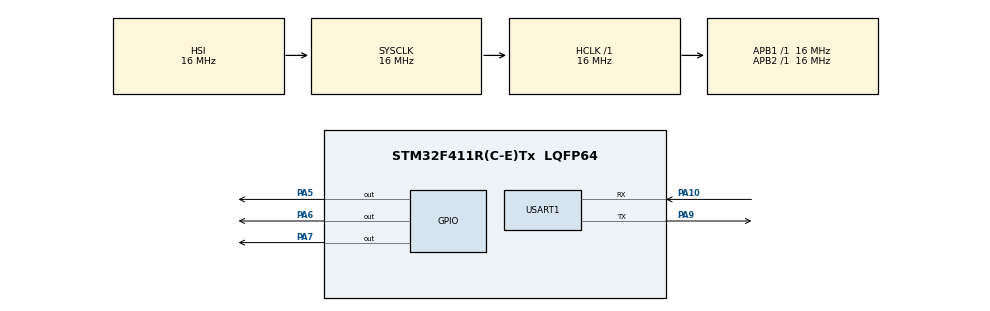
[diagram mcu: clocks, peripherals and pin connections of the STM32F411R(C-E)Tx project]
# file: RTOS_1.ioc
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FREERTOS.INCLUDE_vTaskDelayUntil=1
FREERTOS.Tasks01=defaultTask,0,128,StartDefaultTask,Default,NULL,Dynamic,NULL,NULL;Task2,0,128,Task2_init,Default,NULL,Dynamic,NULL,NULL
FREERTOS.configUSE_NEWLIB_REENTRANT=1
Mcu.Family=STM32F4
Mcu.Name=STM32F411R(C-E)Tx
Mcu.Package=LQFP64
NVIC.PriorityGroup=NVIC_PRIORITYGROUP_4
NVIC.TIM1_UP_TIM10_IRQn=true\:15\:0\:false\:false\:true\:false\:false\:true\:true
NVIC.TimeBase=TIM1_UP_TIM10_IRQn
NVIC.TimeBaseIP=TIM1
PA10.Mode=Asynchronous
PA10.Signal=USART1_RX
PA13.Mode=Serial_Wire
PA13.Signal=SYS_JTMS-SWDIO
PA14.Mode=Serial_Wire
PA14.Signal=SYS_JTCK-SWCLK
PA5.GPIO_ModeDefaultOutputPP=GPIO_MODE_OUTPUT_PP
PA5.GPIO_PuPd=GPIO_NOPULL
PA5.Signal=GPIO_Output
PA6.Signal=GPIO_Output
PA7.Signal=GPIO_Output
PA9.GPIO_ModeDefaultPP=GPIO_MODE_AF_PP
PA9.Mode=Asynchronous
PA9.Signal=USART1_TX
ProjectManager.HeapSize=0x200
ProjectManager.StackSize=0x400
ProjectManager.TargetToolchain=STM32CubeIDE
RCC.AHBFreq_Value=16000000
RCC.APB1Freq_Value=16000000
RCC.APB2Freq_Value=16000000
RCC.CortexFreq_Value=16000000
RCC.HSE_VALUE=25000000
RCC.HSI_VALUE=16000000
RCC.LSE_VALUE=32768
RCC.SYSCLKFreq_VALUE=16000000
RCC.VCOOutputFreq_Value=192000000
USART1.VirtualMode=VM_ASYNC
VP_FREERTOS_VS_CMSIS_V1.Mode=CMSIS_V1
VP_SYS_VS_tim1.Mode=TIM1
board=custom

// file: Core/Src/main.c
/* USER CODE BEGIN Header */
/**
  ******************************************************************************
  * @file           : main.c
  * @brief          : Main program body
  ******************************************************************************
  * @attention
  *
  * Copyright (c) 2023 STMicroelectronics.
  * All rights reserved.
  *
  * This software is licensed under terms that can be found in the LICENSE file
  * in the root directory of this software component.
  * If no LICENSE file comes with this software, it is provided AS-IS.
  *
  ******************************************************************************
  */
/* USER CODE END Header */
#include "main.h"
#include "cmsis_os.h"

/* USER CODE BEGIN Includes */
#include "stdio.h"
/* USER CODE END Includes */

UART_HandleTypeDef huart1;

osThreadId defaultTaskHandle;
osThreadId Task2Handle;
osThreadId Task3Handle;

void SystemClock_Config(void);
static void MX_GPIO_Init(void);
static void MX_USART1_UART_Init(void);
void StartDefaultTask(void const * argument);
void Task2_init(void const * argument);
void Task3_init(void const * argument);

/* USER CODE BEGIN 0 */
int _write(int file, char *ptr, int len)
{
	int i=0;
	for (i=0; i<len; i++)
		ITM_SendChar((*ptr++));
	return len;
}

void send_deftask(void)
{
	uint8_t data[] = "Hello from Default Task \n";
	printf(data);
	//HAL_UART_Transmit(&huart1, data, sizeof(data), 500);
}

void send_task2(void)
{
	uint8_t data[] = "Hello from Task 2 \n";
	printf(data);
	//HAL_UART_Transmit(&huart1, data, sizeof(data), 500);
}

void send_task3(void)
{
	uint8_t data[] = "Hello from Task 3 \n";
	printf(data);
	//HAL_UART_Transmit(&huart1, data, sizeof(data), 500);
}

/* USER CODE END 0 */

int main(void)
{

  /* MCU Configuration--------------------------------------------------------*/

  /* Reset of all peripherals, Initializes the Flash interface and the Systick. */
  HAL_Init();

  /* Configure the system clock */
  SystemClock_Config();

  /* Initialize all configured peripherals */
  MX_GPIO_Init();
  MX_USART1_UART_Init();

  /* Create the thread(s) */
  /* definition and creation of defaultTask */
  osThreadDef(defaultTask, StartDefaultTask, osPriorityNormal, 0, 128);
  defaultTaskHandle = osThreadCreate(osThread(defaultTask), NULL);

  /* definition and creation of Task2 */
  osThreadDef(Task2, Task2_init, osPriorityAboveNormal, 0, 128);
  Task2Handle = osThreadCreate(osThread(Task2), NULL);

  osThreadDef(Task3, Task3_init, osPriorityBelowNormal, 0, 128);
  Task3Handle = osThreadCreate(osThread(Task3), NULL);

  /* Start scheduler */
  osKernelStart();

  /* We should never get here as control is now taken by the scheduler */
  /* Infinite loop */
  while (1)
  {

  }
}

void SystemClock_Config(void)
{
  RCC_OscInitTypeDef RCC_OscInitStruct = {0};
  RCC_ClkInitTypeDef RCC_ClkInitStruct = {0};

  /** Configure the main internal regulator output voltage
  */
  __HAL_RCC_PWR_CLK_ENABLE();
  __HAL_PWR_VOLTAGESCALING_CONFIG(PWR_REGULATOR_VOLTAGE_SCALE1);

  /** Initializes the RCC Oscillators according to the specified parameters
  * in the RCC_OscInitTypeDef structure.
  */
  RCC_OscInitStruct.OscillatorType = RCC_OSCILLATORTYPE_HSI;
  RCC_OscInitStruct.HSIState = RCC_HSI_ON;
  RCC_OscInitStruct.HSICalibrationValue = RCC_HSICALIBRATION_DEFAULT;
  RCC_OscInitStruct.PLL.PLLState = RCC_PLL_NONE;
  if (HAL_RCC_OscConfig(&RCC_OscInitStruct) != HAL_OK)
  {
    Error_Handler();
  }

  /** Initializes the CPU, AHB and APB buses clocks
  */
  RCC_ClkInitStruct.ClockType = RCC_CLOCKTYPE_HCLK|RCC_CLOCKTYPE_SYSCLK
                              |RCC_CLOCKTYPE_PCLK1|RCC_CLOCKTYPE_PCLK2;
  RCC_ClkInitStruct.SYSCLKSource = RCC_SYSCLKSOURCE_HSI;
  RCC_ClkInitStruct.AHBCLKDivider = RCC_SYSCLK_DIV1;
  RCC_ClkInitStruct.APB1CLKDivider = RCC_HCLK_DIV1;
  RCC_ClkInitStruct.APB2CLKDivider = RCC_HCLK_DIV1;

  if (HAL_RCC_ClockConfig(&RCC_ClkInitStruct, FLASH_LATENCY_0) != HAL_OK)
  {
    Error_Handler();
  }
}

static void MX_USART1_UART_Init(void)
{

  /* USER CODE BEGIN USART1_Init 0 */

	GPIO_InitTypeDef GPIO_InitStruct = {0};

	  /* GPIO Ports Clock Enable */
	  __HAL_RCC_GPIOA_CLK_ENABLE();

	  /*Configure GPIO pin Output Level */
	  HAL_GPIO_WritePin(GPIOA, GPIO_PIN_9|GPIO_PIN_10, GPIO_PIN_RESET);

	  /*Configure GPIO pins : PA5 PA6 PA7 */
	  GPIO_InitStruct.Pin = GPIO_PIN_9|GPIO_PIN_10;
	  GPIO_InitStruct.Mode = GPIO_MODE_AF_PP;
	  GPIO_InitStruct.Pull = GPIO_NOPULL;
	  GPIO_InitStruct.Speed = GPIO_SPEED_FREQ_LOW;
	  HAL_GPIO_Init(GPIOA, &GPIO_InitStruct);
  /* USER CODE END USART1_Init 0 */

  huart1.Instance = USART1;
  huart1.Init.BaudRate = 115200;
  huart1.Init.WordLength = UART_WORDLENGTH_8B;
  huart1.Init.StopBits = UART_STOPBITS_1;
  huart1.Init.Parity = UART_PARITY_NONE;
  huart1.Init.Mode = UART_MODE_TX_RX;
  huart1.Init.HwFlowCtl = UART_HWCONTROL_NONE;
  huart1.Init.OverSampling = UART_OVERSAMPLING_16;
  if (HAL_UART_Init(&huart1) != HAL_OK)
  {
    Error_Handler();
  }

}

static void MX_GPIO_Init(void)
{
  GPIO_InitTypeDef GPIO_InitStruct = {0};

  /* GPIO Ports Clock Enable */
  __HAL_RCC_GPIOA_CLK_ENABLE();

  /*Configure GPIO pin Output Level */
  HAL_GPIO_WritePin(GPIOA, GPIO_PIN_5|GPIO_PIN_6|GPIO_PIN_7, GPIO_PIN_RESET);

  /*Configure GPIO pins : PA5 PA6 PA7 */
  GPIO_InitStruct.Pin = GPIO_PIN_5|GPIO_PIN_6|GPIO_PIN_7;
  GPIO_InitStruct.Mode = GPIO_MODE_OUTPUT_PP;
  GPIO_InitStruct.Pull = GPIO_NOPULL;
  GPIO_InitStruct.Speed = GPIO_SPEED_FREQ_LOW;
  HAL_GPIO_Init(GPIOA, &GPIO_InitStruct);

}

void StartDefaultTask(void const * argument)
{
  /* USER CODE BEGIN 5 */
  /* Infinite loop */
  for(;;)
  {
	  HAL_GPIO_TogglePin(GPIOA, GPIO_PIN_5);
	  send_deftask();
	  osDelay(1000);
  }
  /* USER CODE END 5 */
}

void Task2_init(void const * argument)
{
  /* USER CODE BEGIN Task2_init */
  /* Infinite loop */
  for(;;)
  {
	  HAL_GPIO_TogglePin(GPIOA, GPIO_PIN_6);
	  send_task2();
	  osDelay(2000);
  }
  /* USER CODE END Task2_init */
}

void Task3_init(void const * argument)
{
  /* USER CODE BEGIN Task2_init */
  /* Infinite loop */
  for(;;)
  {
	  HAL_GPIO_TogglePin(GPIOA, GPIO_PIN_7);
	  send_task3();
	  osDelay(3000);
  }
  /* USER CODE END Task2_init */
}

void HAL_TIM_PeriodElapsedCallback(TIM_HandleTypeDef *htim)
{
  if (htim->Instance == TIM1) {
    HAL_IncTick();
  }
}

void Error_Handler(void)
{
  __disable_irq();
  while (1)
  {
  }
}
